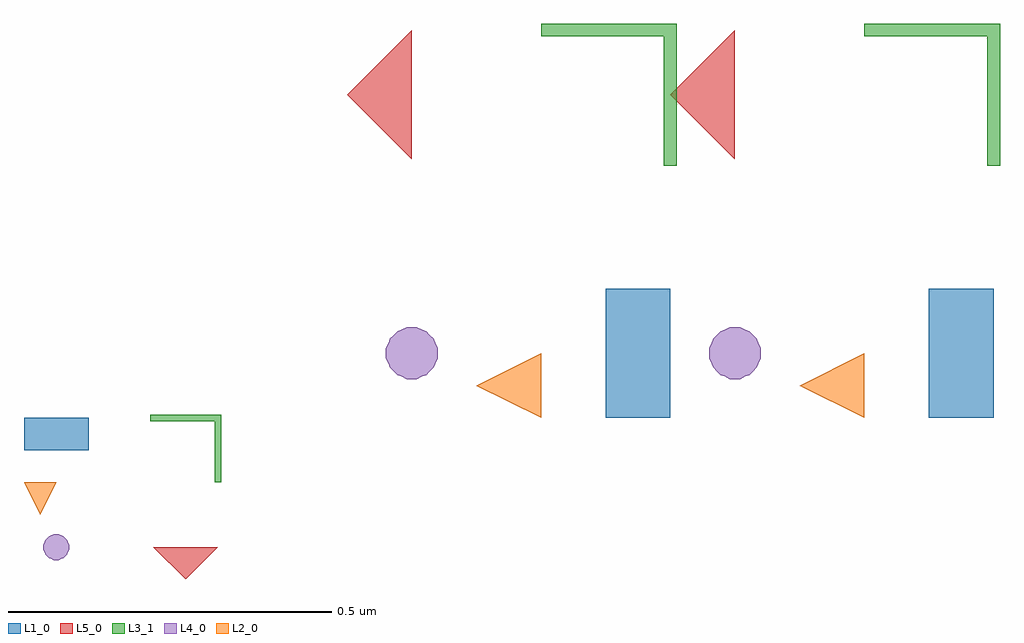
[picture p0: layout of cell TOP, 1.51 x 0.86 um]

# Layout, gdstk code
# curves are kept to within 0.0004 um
from math import pi, radians
import gdstk
lib = gdstk.Library(unit=1e-6, precision=1e-09)
def R(c, l, rs):  # rectangles x0, y0, x1, y1
    for r in rs: c.add(gdstk.rectangle(r[:2], r[2:], *l))
def P(c, l, *ps):  # polygons
    for p in ps: c.add(gdstk.Polygon(p, *l))
L1_0 = (1, 0)
L2_0 = (2, 0)
L3_1 = (3, 1)
L4_0 = (4, 0)
L5_0 = (5, 0)

leaf = lib.new_cell('LEAF')
R(leaf, L1_0, [(0,0,0.1,0.05)])
P(leaf, L2_0, [(0,0.1),(0.05,0.1),(0.025,0.15),(0,0.1)])
P(leaf, L4_0, [(0.07,0.2),(0.07,0.204),(0.067,0.211),(0.061,0.217),(0.054,0.22),(0.046,0.22),(0.039,0.217),(0.033,0.211),(0.03,0.204),(0.03,0.196),(0.033,0.189),(0.039,0.183),(0.046,0.18),(0.054,0.18),(0.061,0.183),(0.067,0.189),(0.07,0.196)])
P(leaf, L5_0, [(0.2,0.2),(0.25,0.25),(0.3,0.2)])
leaf.add(gdstk.FlexPath([(0.2,0),(0.3,0),(0.3,0.1)], 0.01, ends=(0.005, 0), simple_path=True, layer=3, datatype=1))  # L3_1
leaf.add(gdstk.Label('OASIS fixture', (0,-0.03), layer=6, texttype=0))

top = lib.new_cell('TOP')
r = gdstk.Reference(leaf, (1,0), rotation=pi/2, magnification=2); r.repetition = gdstk.Repetition(2, 1, v1=(0.5,0), v2=(0,0)); top.add(r)
top.add(gdstk.Reference(leaf, (0,0), x_reflection=True))

lib.write_gds('TOP.gds')
